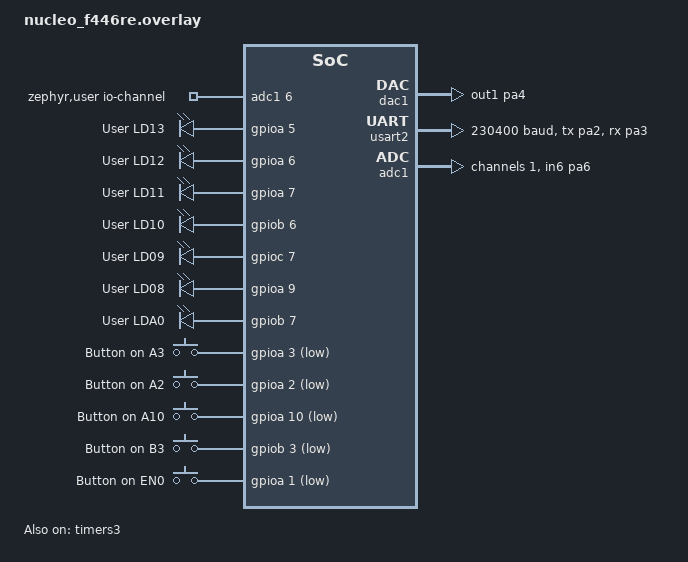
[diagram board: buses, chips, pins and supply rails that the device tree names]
/*
 * Copyright (c) 2021 Eug Krashtan
 *
 * SPDX-License-Identifier: Apache-2.0
 *
 * Application overlay for creating temperature sensor device instance
 from framework-zephyr/samples/sensor/stm32_temp_sensor/boards/nucleo_f401re.overlay
 changed adc1 16 to adc1 18 per f446re tech manual

 * Application overlay for creating quadrature decoder device instance
 * added DAC overlay (also need to enable in proj.conf)

 */


/ {
	zephyr,user {
		dac = <&dac1>;
		dac-channel-id = <1>;
		dac-resolution = <12>;
		/* adjust adc channel number according to pinmux in board.dts */
		/* watch out for conflict with uarta pa2+pa3, led pa5, d/a pa4, qdec pa6+7 */
		io-channels = <&adc1 6>; 
	};
};

&timers3 {
    status = "okay";

    qdec: qdec {
        status = "okay";
        pinctrl-0 = <&tim3_ch1_pa6 &tim3_ch2_pa7>;
        pinctrl-names = "default";
        st,input-filter-level = <15>; //<0x15>; //<0x16>;
        st,counts-per-revolution = <16>;

		label = "QDEC_3";
    };
};


/* stuff for adc setup */
&adc1 {
	#address-cells = <1>;
	#size-cells = <0>;
	st,adc-prescaler = <1>;
    status = "okay";
	pinctrl-0 = < &adc1_in6_pa6 >;
	channel@1 {
		reg = <1>;
		zephyr,gain = "ADC_GAIN_1";
		zephyr,reference = "ADC_REF_INTERNAL";
		zephyr,acquisition-time = "ADC_ACQ_TIME_DEFAULT"; 
		zephyr,resolution = <12>;
	};
};


/{
	soc 
	{
		dac1: dac@40007400 
		{   compatible = "st,stm32-dac"; 
			reg = < 0x40007400 0x400 >; 
			clocks = < &rcc 0x2 0x20000000 >;
			status = "okay";
			label = "DAC_1";
			#io-channel-cells = < 0x1 >;
			pinctrl-0 = < &dac_out1_pa4 >;
			phandle = < 0x14 >;
		};

		usart2: serial@40004400 {
			compatible = "st,stm32-usart", "st,stm32-uart";
			reg = < 0x40004400 0x400 >;
			clocks = < &rcc 0x2 0x20000 >;
			interrupts = < 0x26 0x0 >;
			status = "okay";
			label = "UART_2";
			pinctrl-0 = < &usart2_tx_pa2 &usart2_rx_pa3 >;
			current-speed = < 230400 >;
		};
	};
};


/ {
	leds {
		compatible = "gpio-leds";
		digital_13: led_13 {
			gpios = <&gpioa 5 GPIO_ACTIVE_HIGH>;
			label = "User LD13";
		};
		digital_12: led_12 {
			gpios = <&gpioa 6 GPIO_ACTIVE_HIGH>;
			label = "User LD12";
		};
		digital_11: led_11 {
			gpios = <&gpioa 7 GPIO_ACTIVE_HIGH>;
			label = "User LD11";
		};
		digital_10: led_10 {
			gpios = <&gpiob 6 GPIO_ACTIVE_HIGH>;
			label = "User LD10";
		};
		digital_9: led_09 {
			gpios = <&gpioc 7 GPIO_ACTIVE_HIGH>;
			label = "User LD09";
		};
		digital_8: led_08 {
			gpios = <&gpioa 9 GPIO_ACTIVE_HIGH>;
			label = "User LD08";
		};

		digital_m: led_m {
			gpios = <&gpiob 7 GPIO_ACTIVE_HIGH>;
			label = "User LDA0";
		};
	};

	buttons {
		compatible = "gpio-keys";
		digitalin_0: digitalin-a3 {
			gpios = <&gpioa 3 (GPIO_PULL_DOWN | GPIO_ACTIVE_LOW)>;
			label = "Button on A3";
		};
		digitalin_1: digitalin-a2 {
			gpios = <&gpioa 2 (GPIO_PULL_DOWN | GPIO_ACTIVE_LOW)>;
			label = "Button on A2";
		};
		digitalin_2: digitalin-a10 {
			gpios = <&gpioa 10 (GPIO_PULL_DOWN | GPIO_ACTIVE_LOW)>;
			label = "Button on A10";
		};
		digitalin_3: digitalin-b3 {
			gpios = <&gpiob 3 (GPIO_PULL_DOWN | GPIO_ACTIVE_LOW)>;
			label = "Button on B3";
		};
		start0: start_sw {
			gpios = <&gpioa 1 (GPIO_PULL_DOWN | GPIO_ACTIVE_LOW)>;
			label = "Button on EN0";
		};

	};

	aliases {
		d13 = &digital_13;
		d12 = &digital_12;
		d11 = &digital_11;
		d10 = &digital_10;
		d9 = &digital_9;
		d8 = &digital_8;

		d3 = &digitalin_3;
		d2 = &digitalin_2;
		d1 = &digitalin_1;
		d0 = &digitalin_0;

		en0 = &start0;
		mdir0 = &digital_m;

	};
};





